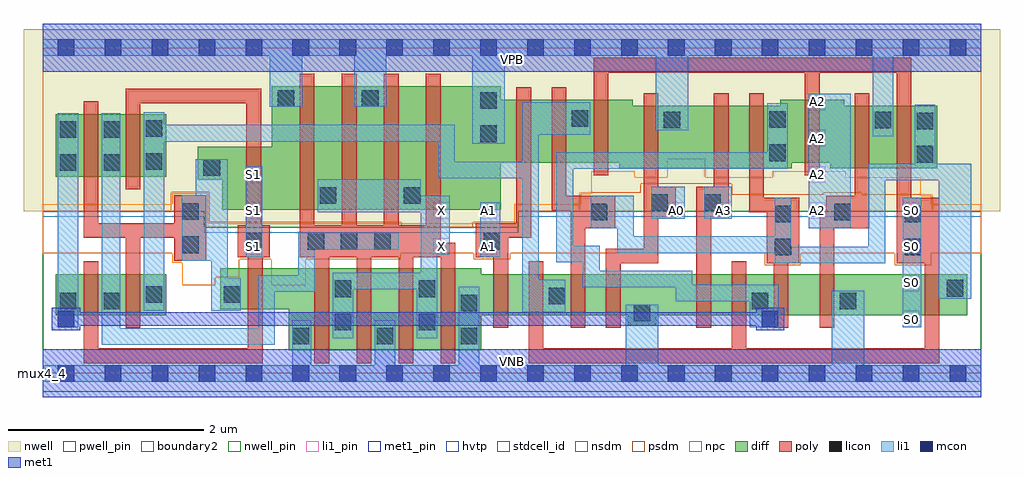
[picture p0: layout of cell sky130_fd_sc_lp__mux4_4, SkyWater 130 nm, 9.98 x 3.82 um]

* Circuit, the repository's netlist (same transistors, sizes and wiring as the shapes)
* Copyright 2020 The SkyWater PDK Authors
*
* Licensed under the Apache License, Version 2.0 (the "License");
* you may not use this file except in compliance with the License.
* You may obtain a copy of the License at
*
*     https://www.apache.org/licenses/LICENSE-2.0
*
* Unless required by applicable law or agreed to in writing, software
* distributed under the License is distributed on an "AS IS" BASIS,
* WITHOUT WARRANTIES OR CONDITIONS OF ANY KIND, either express or implied.
* See the License for the specific language governing permissions and
* limitations under the License.
*
* SPDX-License-Identifier: Apache-2.0

.SUBCKT sky130_fd_sc_lp__mux4_4 A0 A1 A2 A3 S0 S1 VGND VNB VPB VPWR X
*.PININFO A0:I A1:I A2:I A3:I S0:I S1:I VGND:I VNB:I VPB:I VPWR:I X:O
MMNA00 sndNS0ba0 S0b xlowb VNB sky130_fd_pr__nfet_01v8 m=1 w=0.42U l=0.15U mult=1
+ sa=0.265 sb=0.265 sd=0.28 area=0.028 perim=0.76
MMNA01 VGND A0 sndNS0ba0 VNB sky130_fd_pr__nfet_01v8 m=1 w=0.42U l=0.15U mult=1
+ sa=0.265 sb=0.265 sd=0.28 area=0.028 perim=0.76
MMNA10 sndNS0a1 S0 xlowb VNB sky130_fd_pr__nfet_01v8 m=1 w=0.42U l=0.15U mult=1
+ sa=0.265 sb=0.265 sd=0.28 area=0.028 perim=0.76
MMNA11 VGND A1 sndNS0a1 VNB sky130_fd_pr__nfet_01v8 m=1 w=0.42U l=0.15U mult=1
+ sa=0.265 sb=0.265 sd=0.28 area=0.028 perim=0.76
MMNA20 sndNS0ba2 S0b xhib VNB sky130_fd_pr__nfet_01v8 m=1 w=0.42U l=0.15U mult=1
+ sa=0.265 sb=0.265 sd=0.28 area=0.028 perim=0.76
MMNA21 VGND A2 sndNS0ba2 VNB sky130_fd_pr__nfet_01v8 m=1 w=0.42U l=0.15U mult=1
+ sa=0.265 sb=0.265 sd=0.28 area=0.028 perim=0.76
MMNA30 sndNS0a3 S0 xhib VNB sky130_fd_pr__nfet_01v8 m=1 w=0.42U l=0.15U mult=1
+ sa=0.265 sb=0.265 sd=0.28 area=0.028 perim=0.76
MMNA31 VGND A3 sndNS0a3 VNB sky130_fd_pr__nfet_01v8 m=1 w=0.42U l=0.15U mult=1
+ sa=0.265 sb=0.265 sd=0.28 area=0.028 perim=0.76
MMNs1o xb S1b xlowb VNB sky130_fd_pr__nfet_01v8 m=1 w=0.42U l=0.15U mult=1 sa=0.265
+ sb=0.265 sd=0.28 area=0.028 perim=0.76
MMNs2o xb S1 xhib VNB sky130_fd_pr__nfet_01v8 m=1 w=0.42U l=0.15U mult=1 sa=0.265
+ sb=0.265 sd=0.28 area=0.028 perim=0.76
MMIN1 VGND S1 S1b VNB sky130_fd_pr__nfet_01v8 m=1 w=0.42U l=0.15U mult=1 sa=0.265
+ sb=0.265 sd=0.28 area=0.028 perim=0.76
MMIN2 VGND S0 S0b VNB sky130_fd_pr__nfet_01v8 m=1 w=0.42U l=0.15U mult=1 sa=0.265
+ sb=0.265 sd=0.28 area=0.028 perim=0.76
MMIN4 VGND xb X VNB sky130_fd_pr__nfet_01v8 m=4 w=0.84U l=0.15U mult=1 sa=0.265
+ sb=0.265 sd=0.28 area=0.028 perim=0.76
MMPA00 sndPA0a0 A0 VPWR VPB sky130_fd_pr__pfet_01v8_hvt m=1 w=0.64U l=0.15U mult=1
+ sa=0.265 sb=0.265 sd=0.28 area=0.028 perim=0.76
MMPA01 xlowb S0 sndPA0a0 VPB sky130_fd_pr__pfet_01v8_hvt m=1 w=0.64U l=0.15U mult=1
+ sa=0.265 sb=0.265 sd=0.28 area=0.028 perim=0.76
MMPA10 sndPA1a1 A1 VPWR VPB sky130_fd_pr__pfet_01v8_hvt m=1 w=0.64U l=0.15U mult=1
+ sa=0.265 sb=0.265 sd=0.28 area=0.028 perim=0.76
MMPA11 xlowb S0b sndPA1a1 VPB sky130_fd_pr__pfet_01v8_hvt m=1 w=0.64U l=0.15U mult=1
+ sa=0.265 sb=0.265 sd=0.28 area=0.028 perim=0.76
MMPA20 sndPA2a2 A2 VPWR VPB sky130_fd_pr__pfet_01v8_hvt m=1 w=0.64U l=0.15U mult=1
+ sa=0.265 sb=0.265 sd=0.28 area=0.028 perim=0.76
MMPA21 xhib S0 sndPA2a2 VPB sky130_fd_pr__pfet_01v8_hvt m=1 w=0.64U l=0.15U mult=1
+ sa=0.265 sb=0.265 sd=0.28 area=0.028 perim=0.76
MMPA30 sndPA3a3 A3 VPWR VPB sky130_fd_pr__pfet_01v8_hvt m=1 w=0.64U l=0.15U mult=1
+ sa=0.265 sb=0.265 sd=0.28 area=0.028 perim=0.76
MMPA31 xhib S0b sndPA3a3 VPB sky130_fd_pr__pfet_01v8_hvt m=1 w=0.64U l=0.15U mult=1
+ sa=0.265 sb=0.265 sd=0.28 area=0.028 perim=0.76
MMPs1o xb S1 xlowb VPB sky130_fd_pr__pfet_01v8_hvt m=1 w=0.64U l=0.15U mult=1 sa=0.265
+ sb=0.265 sd=0.28 area=0.028 perim=0.76
MMPs2o xb S1b xhib VPB sky130_fd_pr__pfet_01v8_hvt m=1 w=0.64U l=0.15U mult=1 sa=0.265
+ sb=0.265 sd=0.28 area=0.028 perim=0.76
MMIP1 VPWR S1 S1b VPB sky130_fd_pr__pfet_01v8_hvt m=1 w=0.64U l=0.15U mult=1 sa=0.265
+ sb=0.265 sd=0.28 area=0.028 perim=0.76
MMIP2 VPWR S0 S0b VPB sky130_fd_pr__pfet_01v8_hvt m=1 w=0.64U l=0.15U mult=1 sa=0.265
+ sb=0.265 sd=0.28 area=0.028 perim=0.76
MMIP4 VPWR xb X VPB sky130_fd_pr__pfet_01v8_hvt m=4 w=1.26U l=0.15U mult=1 sa=0.265
+ sb=0.265 sd=0.28 area=0.028 perim=0.76
.ENDS sky130_fd_sc_lp__mux4_4

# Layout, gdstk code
import gdstk
lib = gdstk.Library(unit=1e-6, precision=1e-09)
def R(c, l, rs):  # rectangles x0, y0, x1, y1
    for r in rs: c.add(gdstk.rectangle(r[:2], r[2:], *l))
def A(c, l, x, y, w, h, nx, ny, dx, dy):  # array of equal rectangles
    R(c, l, [(x+i*dx, y+j*dy, x+i*dx+w, y+j*dy+h) for i in range(nx) for j in range(ny)])
def P(c, l, *ps):  # polygons
    for p in ps: c.add(gdstk.Polygon(p, *l))
nwell_pin = (64, 16)
nwell = (64, 20)
diff = (65, 20)
poly = (66, 20)
licon = (66, 44)
li1_pin = (67, 16)
li1 = (67, 20)
mcon = (67, 44)
met1_pin = (68, 16)
met1 = (68, 20)
hvtp = (78, 44)
stdcell_id = (81, 4)
nsdm = (93, 44)
psdm = (94, 20)
npc = (95, 20)
pwell_pin = (122, 16)
boundary2 = (236, 0)

sky130_fd_sc_lp__mux4_4 = lib.new_cell('sky130_fd_sc_lp__mux4_4')
R(sky130_fd_sc_lp__mux4_4, nwell_pin, [(0,3.085,9.6,3.33)])
P(sky130_fd_sc_lp__mux4_4, nwell, [(9.79,3.52),(-0.19,3.52),(-0.19,1.655),(1.655,1.655),(1.655,1.495),(4.865,1.495),(4.865,1.655),(9.79,1.655)])
R(sky130_fd_sc_lp__mux4_4, diff, [(0.135,0.595,1.265,1.015), (0.135,2.01,1.265,2.65)])
P(sky130_fd_sc_lp__mux4_4, diff, [(9.15,2.735),(8.195,2.735),(8.195,2.795),(7.545,2.795),(7.545,2.735),(6.035,2.735),(6.035,2.795),(4.685,2.795),(4.685,2.935),(2.345,2.935),(2.345,2.315),(1.585,2.315),(1.585,1.98),(1.835,1.98),(1.835,1.675),(4.685,1.675),(4.685,2.155),(5.895,2.155),(5.895,2.095),(7.66,2.095),(7.66,2.155),(8.055,2.155),(8.055,2.095),(9.15,2.095)],
  [(9.455,1.015),(4.485,1.015),(4.485,1.075),(1.815,1.075),(1.815,0.655),(2.515,0.655),(2.515,0.235),(4.485,0.235),(4.485,0.595),(5.985,0.595),(5.985,0.49),(6.275,0.49),(6.275,0.595),(9.455,0.595)])
P(sky130_fd_sc_lp__mux4_4, poly, [(1.675,1.82),(1.345,1.82),(1.345,1.535),(0.57,1.535),(0.57,2.78),(0.42,2.78),(0.42,1.385),(0.85,1.385),(0.85,0.465),(1,0.465),(1,1.385),(1.345,1.385),(1.345,1.15),(1.675,1.15)],
  [(2.325,1.515),(2.235,1.515),(2.235,2.91),(0.85,2.91),(0.85,1.88),(1,1.88),(1,2.76),(2.085,2.76),(2.085,1.515),(1.995,1.515),(1.995,1.185),(2.1,1.185),(2.1,0.255),(0.57,0.255),(0.57,1.145),(0.42,1.145),(0.42,0.105),(2.25,0.105),(2.25,1.185),(2.325,1.185)],
  [(4.22,1.335),(4.07,1.335),(4.07,3.065),(3.92,3.065),(3.92,1.515),(3.64,1.515),(3.64,3.065),(3.49,3.065),(3.49,1.515),(3.21,1.515),(3.21,3.065),(3.06,3.065),(3.06,1.515),(2.78,1.515),(2.78,3.065),(2.63,3.065),(2.63,1.185),(2.78,1.185),(2.78,0.105),(2.93,0.105),(2.93,1.185),(3.21,1.185),(3.21,0.105),(3.36,0.105),(3.36,1.185),(3.64,1.185),(3.64,0.105),(3.79,0.105),(3.79,1.185),(4.07,1.185),(4.07,0.105),(4.22,0.105)],
  [(4.995,2.925),(4.845,2.925),(4.845,1.535),(4.43,1.535),(4.43,1.185),(4.61,1.185),(4.61,0.465),(4.76,0.465),(4.76,1.385),(4.995,1.385)],
  [(5.855,1.815),(5.355,1.815),(5.355,2.925),(5.205,2.925),(5.205,1.665),(5.4,1.665),(5.4,0.465),(5.55,0.465),(5.55,1.485),(5.855,1.485)],
  [(6.475,1.91),(6.295,1.91),(6.295,2.865),(6.145,2.865),(6.145,1.275),(5.76,1.275),(5.76,0.465),(5.91,0.465),(5.91,1.125),(6.295,1.125),(6.295,1.58),(6.475,1.58)],
  [(7.015,2.865),(6.865,2.865),(6.865,1.91),(6.685,1.91),(6.685,0.465),(6.835,0.465),(6.835,1.58),(7.015,1.58)],
  [(7.735,1.795),(7.375,1.795),(7.375,2.865),(7.225,2.865),(7.225,1.645),(7.405,1.645),(7.405,1.125),(7.475,1.125),(7.475,0.465),(7.625,0.465),(7.625,1.125),(7.735,1.125)],
  [(8.455,2.865),(8.305,2.865),(8.305,1.815),(8.015,1.815),(8.015,1.635),(7.945,1.635),(7.945,0.465),(8.095,0.465),(8.095,1.485),(8.455,1.485)],
  [(9.17,1.795),(8.885,1.795),(8.885,3.225),(5.635,3.225),(5.635,2.025),(5.785,2.025),(5.785,3.075),(7.795,3.075),(7.795,2.025),(7.945,2.025),(7.945,3.075),(8.735,3.075),(8.735,1.125),(9.02,1.125),(9.02,0.255),(7.195,0.255),(7.195,1.145),(7.045,1.145),(7.045,0.255),(5.12,0.255),(5.12,1.145),(4.97,1.145),(4.97,0.105),(9.17,0.105)])
A(sky130_fd_sc_lp__mux4_4, licon, 2.555, 0.295, 0.17, 0.17, 3, 1, 0.86, 0)
A(sky130_fd_sc_lp__mux4_4, licon, 2.71, 1.265, 0.17, 0.17, 3, 1, 0.34, 0)
R(sky130_fd_sc_lp__mux4_4, licon, [(2.985,0.44,3.155,0.61), (3.845,0.44,4.015,0.61), (6.045,0.53,6.215,0.7), (4.275,0.635,4.445,0.805), (0.175,0.655,0.345,0.825), (0.625,0.655,0.795,0.825), (7.25,0.655,7.42,0.825), (8.15,0.655,8.32,0.825), (5.175,0.705,5.345,0.875), (1.055,0.72,1.225,0.89), (1.855,0.72,2.025,0.89), (2.985,0.78,3.155,0.95), (3.845,0.78,4.015,0.95), (9.245,0.785,9.415,0.955), (7.485,1.205,7.655,1.375), (8.815,1.205,8.985,1.375), (1.425,1.23,1.595,1.4), (2.075,1.265,2.245,1.435), (4.51,1.265,4.68,1.435), (7.485,1.545,7.655,1.715), (8.815,1.545,8.985,1.715), (5.605,1.565,5.775,1.735), (8.095,1.565,8.265,1.735), (1.425,1.57,1.595,1.74), (6.225,1.66,6.395,1.83), (6.765,1.66,6.935,1.83), (2.835,1.735,3.005,1.905), (3.695,1.735,3.865,1.905), (1.645,2.02,1.815,2.19), (0.175,2.07,0.345,2.24), (0.625,2.07,0.795,2.24), (1.055,2.08,1.225,2.25), (8.94,2.155,9.11,2.325), (7.43,2.17,7.6,2.34), (4.475,2.365,4.645,2.535), (0.175,2.41,0.345,2.58), (0.625,2.41,0.795,2.58), (1.055,2.42,1.225,2.59), (8.94,2.495,9.11,2.665), (6.35,2.505,6.52,2.675), (8.51,2.505,8.68,2.675), (7.43,2.51,7.6,2.68), (5.41,2.52,5.58,2.69), (4.475,2.705,4.645,2.875), (2.405,2.725,2.575,2.895), (3.265,2.725,3.435,2.895)])
A(sky130_fd_sc_lp__mux4_4, li1_pin, 8.795, 0.47, 0.17, 0.17, 1, 3, 0, 0.37)
A(sky130_fd_sc_lp__mux4_4, li1_pin, 2.075, 1.21, 0.17, 0.17, 1, 3, 0, 0.37)
A(sky130_fd_sc_lp__mux4_4, li1_pin, 6.875, 1.58, 0.17, 0.17, 3, 1, 0.96, 0)
A(sky130_fd_sc_lp__mux4_4, li1_pin, 7.835, 1.95, 0.17, 0.17, 1, 3, 0, 0.37)
R(sky130_fd_sc_lp__mux4_4, li1_pin, [(3.995,1.21,4.165,1.38), (4.475,1.21,4.645,1.38), (3.995,1.58,4.165,1.75), (4.475,1.58,4.645,1.75), (6.395,1.58,6.565,1.75)])
R(sky130_fd_sc_lp__mux4_4, li1, [(0.155,0.47,0.365,2.66), (8.795,0.47,8.985,1.795), (2.075,1.185,2.245,2.12), (4.475,1.185,4.68,1.75), (7.835,1.485,8.265,2.86), (6.225,1.58,6.565,1.91), (6.765,1.58,7.045,1.91)])
P(sky130_fd_sc_lp__mux4_4, li1, [(2.555,0.085),(2.555,0.545),(2.745,0.545),(2.745,0.085),(3.395,0.085),(3.395,0.545),(3.605,0.545),(3.605,0.085),(4.255,0.085),(4.255,0.885),(4.465,0.885),(4.465,0.085),(5.965,0.085),(5.965,0.7),(6.295,0.7),(6.295,0.085),(8.07,0.085),(8.07,0.845),(8.4,0.845),(8.4,0.085),(9.6,0.085),(9.6,-0.085),(0,-0.085),(0,0.085)],
  [(2.325,2.725),(2.325,3.245),(0,3.245),(0,3.415),(9.6,3.415),(9.6,3.245),(8.7,3.245),(8.7,2.425),(8.49,2.425),(8.49,3.245),(6.6,3.245),(6.6,2.485),(6.27,2.485),(6.27,3.245),(4.725,3.245),(4.725,2.345),(4.395,2.345),(4.395,3.245),(3.515,3.245),(3.515,2.725),(3.185,2.725),(3.185,3.245),(2.655,3.245),(2.655,2.725)],
  [(2.615,1.005),(2.615,1.435),(3.64,1.435),(3.64,1.265),(2.785,1.265),(2.785,0.835),(2.375,0.835),(2.375,0.29),(0.605,0.29),(0.605,2.66),(0.795,2.66),(0.795,0.46),(2.205,0.46),(2.205,1.005)],
  [(1.725,0.64),(1.725,1.15),(1.425,1.15),(1.425,1.82),(1.565,1.82),(1.565,2.19),(1.895,2.19),(1.895,0.97),(2.025,0.97),(2.025,0.64)],
  [(9.495,2.145),(9.495,0.765),(9.165,0.765),(9.165,1.975),(8.615,1.975),(8.615,1.125),(7.485,1.125),(7.485,1.23),(5.875,1.23),(5.875,1.485),(5.605,1.485),(5.605,1.815),(6.045,1.815),(6.045,1.4),(7.485,1.4),(7.485,1.795),(7.655,1.795),(7.655,1.295),(8.445,1.295),(8.445,2.145),(8.92,2.145),(8.92,2.745),(9.13,2.745),(9.13,2.145)],
  [(5.255,2.26),(7.41,2.26),(7.41,2.76),(7.62,2.76),(7.62,2.09),(5.425,2.09),(5.425,1.305),(5.695,1.305),(5.695,1.05),(6.645,1.05),(6.645,0.905),(7.525,0.905),(7.525,0.47),(7.23,0.47),(7.23,0.735),(6.475,0.735),(6.475,0.88),(5.525,0.88),(5.525,1.135),(5.255,1.135)],
  [(4.905,2.77),(5.6,2.77),(5.6,2.44),(5.075,2.44),(5.075,0.955),(5.345,0.955),(5.345,0.625),(4.905,0.625),(4.905,1.995),(4.045,1.995),(4.045,2.37),(1.245,2.37),(1.245,0.64),(1.035,0.64),(1.035,2.67),(1.245,2.67),(1.245,2.54),(4.215,2.54),(4.215,2.165),(4.905,2.165)],
  [(3.865,1.03),(3.865,1.645),(2.815,1.645),(2.815,1.985),(3.865,1.985),(3.865,1.815),(4.165,1.815),(4.165,1.21),(4.035,1.21),(4.035,0.36),(3.825,0.36),(3.825,0.86),(3.175,0.86),(3.175,0.36),(2.965,0.36),(2.965,1.03)])
A(sky130_fd_sc_lp__mux4_4, mcon, 0.155, -0.085, 0.17, 0.17, 20, 2, 0.48, 3.33)
R(sky130_fd_sc_lp__mux4_4, mcon, [(0.155,0.47,0.325,0.64), (7.355,0.47,7.525,0.64)])
R(sky130_fd_sc_lp__mux4_4, met1_pin, [(0,0,9.6,0.245), (0,3.085,9.6,3.33)])
R(sky130_fd_sc_lp__mux4_4, met1, [(0,-0.245,9.6,0.245), (0,3.085,9.6,3.575)])
P(sky130_fd_sc_lp__mux4_4, met1, [(7.295,0.44),(7.295,0.485),(0.385,0.485),(0.385,0.44),(0.095,0.44),(0.095,0.67),(0.385,0.67),(0.385,0.625),(7.295,0.625),(7.295,0.67),(7.585,0.67),(7.585,0.44)])
P(sky130_fd_sc_lp__mux4_4, hvtp, [(9.6,3.33),(0,3.33),(0,1.6),(1.655,1.6),(1.655,1.44),(4.865,1.44),(4.865,1.6),(9.6,1.6)])
R(sky130_fd_sc_lp__mux4_4, stdcell_id, [(0,0,9.6,3.33)])
P(sky130_fd_sc_lp__mux4_4, nsdm, [(9.6,1.655),(4.865,1.655),(4.865,1.495),(1.655,1.495),(1.655,1.655),(0,1.655),(0,-0.19),(9.6,-0.19)])
P(sky130_fd_sc_lp__mux4_4, psdm, [(9.6,3.52),(0,3.52),(0,1.655),(1.315,1.655),(1.315,1.85),(1.705,1.85),(1.705,1.545),(3.67,1.545),(3.67,1.495),(4.4,1.495),(4.4,1.545),(4.865,1.545),(4.865,1.655),(5.495,1.655),(5.495,1.845),(6.115,1.845),(6.115,1.94),(7.045,1.94),(7.045,1.825),(7.985,1.825),(7.985,1.845),(8.375,1.845),(8.375,1.825),(9.095,1.825),(9.095,1.655),(9.6,1.655)])
P(sky130_fd_sc_lp__mux4_4, npc, [(9.6,1.73),(9.085,1.73),(9.085,1.815),(8.98,1.815),(8.98,2.005),(8.215,2.005),(8.215,2.065),(7.465,2.065),(7.465,2.005),(6.775,2.005),(6.775,2.195),(6.385,2.195),(6.385,2.005),(6.055,2.005),(6.055,2.065),(5.61,2.065),(5.61,1.835),(5.505,1.835),(5.505,1.73),(4.825,1.73),(4.825,1.535),(1.695,1.535),(1.695,1.84),(1.325,1.84),(1.325,1.73),(0,1.73),(0,1.23),(1.325,1.23),(1.325,1.13),(1.43,1.13),(1.43,0.9),(1.765,0.9),(1.765,0.98),(2.01,0.98),(2.01,1.165),(2.34,1.165),(2.34,0.9),(2.69,0.9),(2.69,1.165),(3.66,1.165),(3.66,1.23),(4.41,1.23),(4.41,1.165),(4.78,1.165),(4.78,1.23),(7.385,1.23),(7.385,1.105),(7.755,1.105),(7.755,1.23),(8.715,1.23),(8.715,1.105),(9.085,1.105),(9.085,1.23),(9.6,1.23)])
R(sky130_fd_sc_lp__mux4_4, pwell_pin, [(0,0,9.6,0.245)])
R(sky130_fd_sc_lp__mux4_4, boundary2, [(0,0,9.6,3.33)])
sky130_fd_sc_lp__mux4_4.add(gdstk.Label('VNB', (4.8,0.123), layer=64, texttype=59))
sky130_fd_sc_lp__mux4_4.add(gdstk.Label('VPB', (4.8,3.208), layer=64, texttype=5))
sky130_fd_sc_lp__mux4_4.add(gdstk.Label('mux4_4', (0,0), layer=83, texttype=44))
sky130_fd_sc_lp__mux4_4.add(gdstk.Label('VPWR', (4.8,3.208), layer=68, texttype=5))
sky130_fd_sc_lp__mux4_4.add(gdstk.Label('VGND', (4.8,0.123), layer=68, texttype=5))
sky130_fd_sc_lp__mux4_4.add(gdstk.Label('A0', (6.48,1.665), layer=67, texttype=5))
sky130_fd_sc_lp__mux4_4.add(gdstk.Label('A1', (4.56,1.295), layer=67, texttype=5))
sky130_fd_sc_lp__mux4_4.add(gdstk.Label('A1', (4.56,1.665), layer=67, texttype=5))
sky130_fd_sc_lp__mux4_4.add(gdstk.Label('A2', (7.92,1.665), layer=67, texttype=5))
sky130_fd_sc_lp__mux4_4.add(gdstk.Label('A2', (7.92,2.035), layer=67, texttype=5))
sky130_fd_sc_lp__mux4_4.add(gdstk.Label('A2', (7.92,2.405), layer=67, texttype=5))
sky130_fd_sc_lp__mux4_4.add(gdstk.Label('A2', (7.92,2.775), layer=67, texttype=5))
sky130_fd_sc_lp__mux4_4.add(gdstk.Label('A3', (6.96,1.665), layer=67, texttype=5))
sky130_fd_sc_lp__mux4_4.add(gdstk.Label('S1', (2.16,1.295), layer=67, texttype=5))
sky130_fd_sc_lp__mux4_4.add(gdstk.Label('S1', (2.16,1.665), layer=67, texttype=5))
sky130_fd_sc_lp__mux4_4.add(gdstk.Label('S1', (2.16,2.035), layer=67, texttype=5))
sky130_fd_sc_lp__mux4_4.add(gdstk.Label('S0', (8.88,0.555), layer=67, texttype=5))
sky130_fd_sc_lp__mux4_4.add(gdstk.Label('S0', (8.88,0.925), layer=67, texttype=5))
sky130_fd_sc_lp__mux4_4.add(gdstk.Label('S0', (8.88,1.295), layer=67, texttype=5))
sky130_fd_sc_lp__mux4_4.add(gdstk.Label('S0', (8.88,1.665), layer=67, texttype=5))
sky130_fd_sc_lp__mux4_4.add(gdstk.Label('X', (4.08,1.295), layer=67, texttype=5))
sky130_fd_sc_lp__mux4_4.add(gdstk.Label('X', (4.08,1.665), layer=67, texttype=5))

lib.write_gds('sky130_fd_sc_lp__mux4_4.gds')
